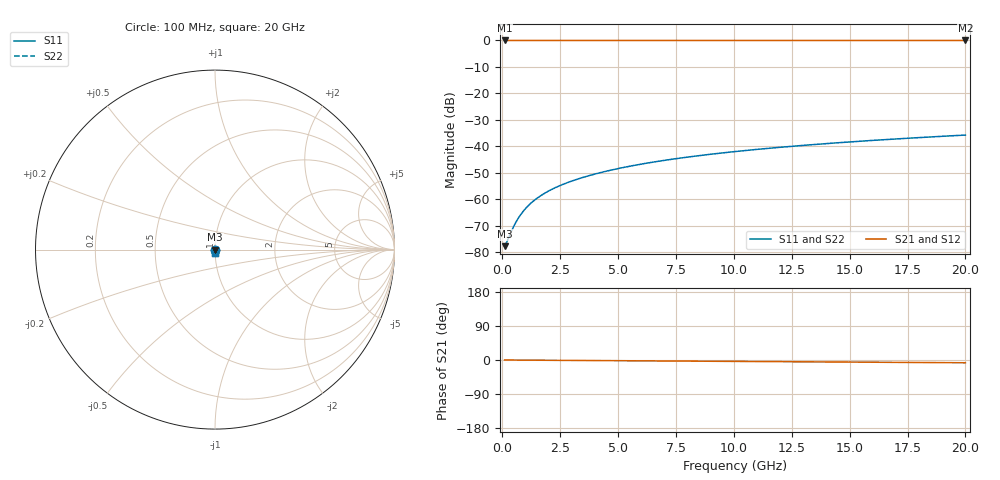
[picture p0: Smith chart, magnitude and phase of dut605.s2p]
! Touchstone file exported from HFSS 2026.1.0
!  File:  C:/ffzhzh/LocalFiles/Ansys_Project_Files/temp_train_TSV_605_1783025578_55676.aedt
!  Generated:  04:54:32 AM Jul  3, 2026
!  Design:  TSV
!  Project:  temp_train_TSV_605_1783025578_55676
! Variables:
!  h_bsmrdl = 2um
!  h_ox = 20um
!  h_rdl = 5um
!  h_sub = 74.3um
!  h_tmrdl = 5um
!  h_tsv = 74.3um
!  h_via = 3um
!  l_bsmrdl = 300um
!  l_sub = 420.06um
!  l_tmrdl = 200um
!  m_sub = 200um
!  pitch = 35.65um
!  r_tsv = 10.03um
!  s_tmrdl = 10um
!  w_bsmrdl = 18um
!  w_sub = 500um
!  w_tmrdl = 12um
!  x_tsv_center1 = 206um
!  x_tsv_center2 = 524um
!  x_tsv_center3 = 736um
!  x_tsv_center4 = 1054um
!  x_tsv_center5 = 1266um
!  x_tsv_center6 = 1584um
# GHz S MA R 50.000000
! Terminal data exported
! Port[1] = TSV1_1_T1
! Port[2] = TSV1_1_T2
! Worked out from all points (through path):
!   200 points, 100 MHz to 20 GHz, reference 50 ohm
!   highest |S21| = 0.00 dB at 100 MHz (marker M1); lowest = 0.0 dB at 20 GHz (marker M2)
!   group delay of S21, straight-line fit = 1.01 ps
!   lowest |S11| = -77.8 dB at 100 MHz (marker M3), VSWR 1.00, Z = 50 - j0.00378 ohm
!   |S11| at or under -10 dB: start of sweep to end of sweep
!   |S22| runs from -77.8 to -35.8 dB; largest |S21 - S12| = 2.2e-15
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0.1  0.0001294 -17.0  0.9999 -0.0  0.9999 -0.0  0.0001294 -17.0
! Gamma 0 0 0 0
! Port Impedance 50 0 50 0
0.2  0.0001574 -30.0  0.9999 -0.1  0.9999 -0.1  0.0001574 -30.0
0.4  0.0002509 -45.0  0.9998 -0.2  0.9998 -0.2  0.0002509 -45.0
0.5  0.0003102 -49.6  0.9998 -0.2  0.9998 -0.2  0.0003102 -49.6
0.6  0.000375 -53.2  0.9998 -0.2  0.9998 -0.2  0.000375 -53.2
0.7  0.0004437 -56.2  0.9998 -0.3  0.9998 -0.3  0.0004437 -56.2
0.8  0.000515 -58.8  0.9997 -0.3  0.9997 -0.3  0.000515 -58.8
1  0.0006625 -63.0  0.9997 -0.4  0.9997 -0.4  0.0006625 -63.0
1.3  0.0008895 -67.5  0.9997 -0.5  0.9997 -0.5  0.0008895 -67.5
1.7  0.001196 -71.7  0.9996 -0.6  0.9996 -0.6  0.001196 -71.7
2.2  0.00158 -75.0  0.9996 -0.8  0.9996 -0.8  0.00158 -75.0
2.8  0.002045 -77.6  0.9995 -1.0  0.9995 -1.0  0.002045 -77.6
3.5  0.002593 -79.6  0.9995 -1.3  0.9995 -1.3  0.002593 -79.6
4.2  0.003148 -81.0  0.9994 -1.6  0.9994 -1.6  0.003148 -81.0
5  0.00379 -82.3  0.9994 -1.8  0.9994 -1.8  0.00379 -82.3
5.9  0.004519 -83.4  0.9993 -2.2  0.9993 -2.2  0.004519 -83.4
6.8  0.005256 -84.4  0.9992 -2.5  0.9992 -2.5  0.005256 -84.4
8.3  0.006493 -85.8  0.9992 -3.1  0.9992 -3.1  0.006492 -85.8
10.1  0.007986 -87.2  0.9991 -3.7  0.9991 -3.7  0.007986 -87.2
13.4  0.01074 -89.4  0.9989 -4.9  0.9989 -4.9  0.01074 -89.4
16.7  0.0135 -91.2  0.9987 -6.1  0.9987 -6.1  0.0135 -91.2
20  0.01629 -92.8  0.9986 -7.3  0.9986 -7.3  0.01629 -92.8
